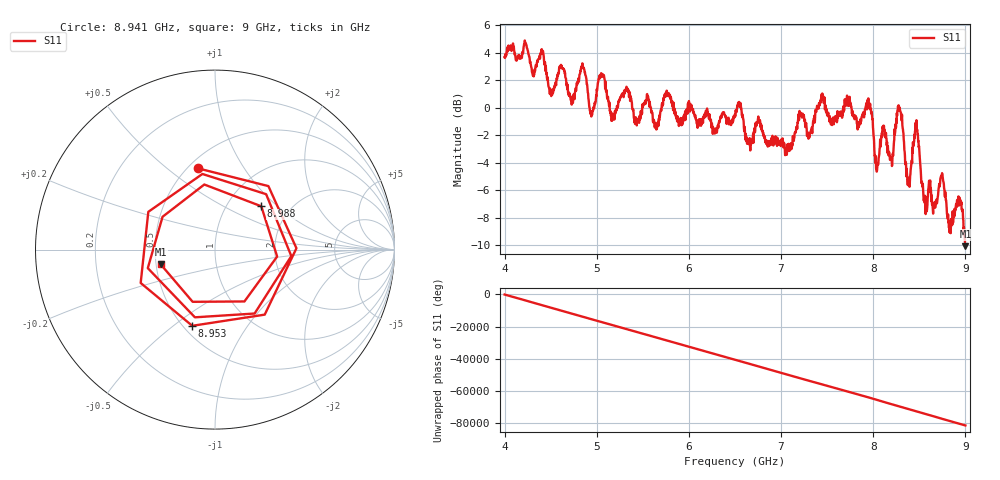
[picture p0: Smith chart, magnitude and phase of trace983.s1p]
! Created with skrf 1.8.0 (http://scikit-rf.org).
# Hz S RI R 50.0
!freq ReS11 ImS11
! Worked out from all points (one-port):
!   1601 points, 4 GHz to 9 GHz, reference 50 ohm
!   lowest |S11| = -10.1 dB at 9 GHz (marker M1), VSWR 1.91, Z = 26.5 - j4.82 ohm
!   |S11| at or under -10 dB: 8.997208 GHz to end of sweep
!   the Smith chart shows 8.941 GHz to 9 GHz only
!   S11 on the Smith chart (normalised r, x): 8.941 GHz: 0.56, +0.65; 8.953 GHz: 0.55, -0.59; 8.988 GHz: 1.44, +0.79; 9 GHz: 0.53, -0.10
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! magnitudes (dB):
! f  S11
! 4 GHz  3.7
! 4.403 GHz  4.2
! 4.509 GHz  1.1
! 4.625 GHz  2.8
! 4.734 GHz  0.6
! 4.853 GHz  2.9
! 4.944 GHz  -0.5
! 5.053 GHz  2.3
! 5.166 GHz  -0.8
! 5.25 GHz  0.6
! 5.875 GHz  -0.6
! 6.5 GHz  -0.5
! 7.125 GHz  -2.3
! 7.447 GHz  1.0
! 7.75 GHz  0.3
! 7.959 GHz  0.0
! 8.041 GHz  -4.6
! 8.112 GHz  -1.6
! 8.197 GHz  -3.8
! 8.288 GHz  -0.1
! 8.375 GHz  -5.6
! 8.466 GHz  -1.6
! 8.566 GHz  -7.2
! 8.741 GHz  -4.9
! 8.941 GHz  -6.7
! 8.953 GHz  -7.1
! 8.988 GHz  -9.0
! 9 GHz  -10.1
